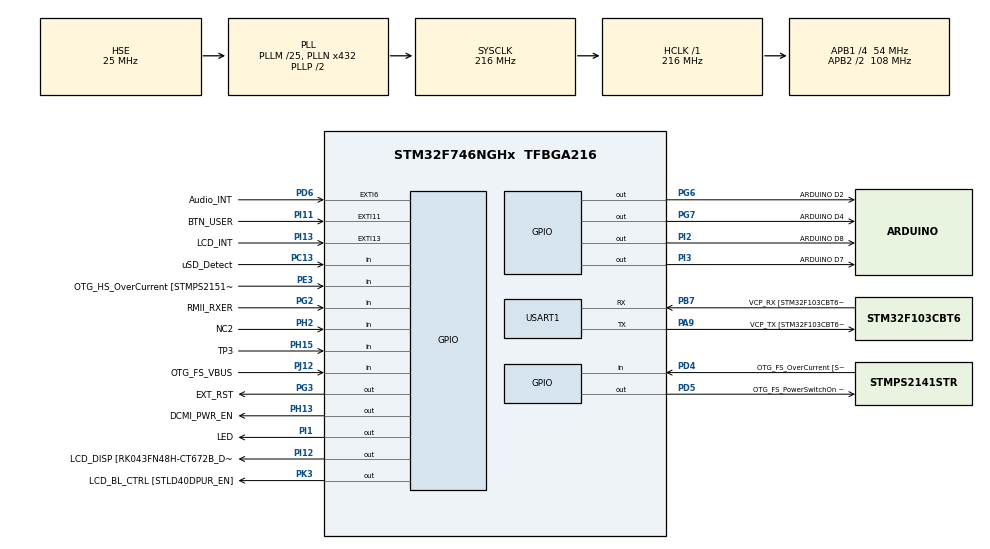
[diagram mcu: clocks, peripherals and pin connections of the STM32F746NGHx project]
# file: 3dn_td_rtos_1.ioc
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FREERTOS.Tasks01=defaultTask,0,128,StartDefaultTask,Default,NULL,Dynamic,NULL,NULL
Mcu.Family=STM32F7
Mcu.Name=STM32F746NGHx
Mcu.Package=TFBGA216
NVIC.PriorityGroup=NVIC_PRIORITYGROUP_4
NVIC.USART1_IRQn=true\:5\:0\:false\:false\:true\:true\:true\:true\:true
PA0/WKUP.GPIO_Label=ARDUINO A0
PA0/WKUP.GPIO_Mode=GPIO_MODE_ANALOG
PA0/WKUP.GPIO_PuPd=GPIO_NOPULL
PA0/WKUP.Signal=ADCx_IN0
PA1.GPIO_Label=RMII_REF_CLK [LAN8742A-CZ-TR_REFCLK0]
PA1.Signal=ETH_REF_CLK
PA10.GPIO_Label=OTG_FS_ID
PA10.Signal=USB_OTG_FS_ID
PA11.GPIO_Label=OTG_FS_N
PA11.Signal=USB_OTG_FS_DM
PA12.GPIO_Label=OTG_FS_P
PA12.Signal=USB_OTG_FS_DP
PA13.GPIO_Label=SWDIO
PA13.Mode=Serial_Wire
PA13.Signal=SYS_JTMS-SWDIO
PA14.GPIO_Label=SWCLK
PA14.Mode=Serial_Wire
PA14.Signal=SYS_JTCK-SWCLK
PA15.GPIO_Label=ARDUINO PWM/D9
PA15.GPIO_ModeDefaultPP=GPIO_MODE_AF_PP
PA15.GPIO_PuPd=GPIO_NOPULL
PA15.GPIO_Speed=GPIO_SPEED_FREQ_LOW
PA15.Signal=S_TIM2_CH1_ETR
PA2.GPIO_Label=RMII_MDIO [LAN8742A-CZ-TR_MDIO]
PA2.Signal=ETH_MDIO
PA3.GPIO_Label=ULPI_D0 [USB3320C-EZK_D0]
PA3.Signal=USB_OTG_HS_ULPI_D0
PA4.GPIO_Label=DCMI_HSYNC
PA4.Signal=DCMI_HSYNC
PA5.GPIO_Label=ULPI_CLK [USB3320C-EZK_CLKOUT]
PA5.Signal=USB_OTG_HS_ULPI_CK
PA6.Signal=DCMI_PIXCLK
PA7.GPIO_Label=RMII_CRS_DV [LAN8742A-CZ-TR_CRS_DV]
PA7.Signal=ETH_CRS_DV
PA8.GPIO_Label=ARDUINO PWM/D10
PA8.GPIO_ModeDefaultPP=GPIO_MODE_AF_PP
PA8.GPIO_PuPd=GPIO_NOPULL
PA8.GPIO_Speed=GPIO_SPEED_FREQ_LOW
PA8.Signal=S_TIM1_CH1
PA9.GPIO_Label=VCP_TX [STM32F103CBT6_PA3]
PA9.GPIO_Mode=GPIO_MODE_AF_PP
PA9.GPIO_PuPd=GPIO_NOPULL
PA9.GPIO_Speed=GPIO_SPEED_FREQ_LOW
PA9.Mode=Asynchronous
PA9.Signal=USART1_TX
PB0.GPIO_Label=ULPI_D1 [USB3320C-EZK_D1]
PB0.Signal=USB_OTG_HS_ULPI_D1
PB1.GPIO_Label=ULPI_D2 [USB3320C-EZK_D2]
PB1.Signal=USB_OTG_HS_ULPI_D2
PB10.GPIO_Label=ULPI_D3 [USB3320C-EZK_D3]
PB10.Signal=USB_OTG_HS_ULPI_D3
PB11.GPIO_Label=ULPI_D4 [USB3320C-EZK_D4]
PB11.Signal=USB_OTG_HS_ULPI_D4
PB12.GPIO_Label=ULPI_D5 [USB3320C-EZK_D5]
PB12.Signal=USB_OTG_HS_ULPI_D5
PB13.GPIO_Label=ULPI_D6 [USB3320C-EZK_D6]
PB13.Signal=USB_OTG_HS_ULPI_D6
PB14.GPIO_Label=ARDUINO MISO/D12
PB14.GPIO_Mode=GPIO_MODE_AF_PP
PB14.GPIO_PuPd=GPIO_NOPULL
PB14.GPIO_Speed=GPIO_SPEED_FREQ_LOW
PB14.Signal=SPI2_MISO
PB15.GPIO_Label=ARDUINO MOSI/PWM/D11
PB15.GPIO_Mode=GPIO_MODE_AF_PP
PB15.GPIO_PuPd=GPIO_NOPULL
PB15.GPIO_Speed=GPIO_SPEED_FREQ_LOW
PB15.Signal=SPI2_MOSI
PB2.Signal=QUADSPI_CLK
PB3.GPIO_Label=SWO
PB3.Signal=SYS_JTDO-SWO
PB4.GPIO_Label=ARDUINO PWM/D3
PB4.GPIO_ModeDefaultPP=GPIO_MODE_AF_PP
PB4.GPIO_PuPd=GPIO_NOPULL
PB4.GPIO_Speed=GPIO_SPEED_FREQ_LOW
PB4.Signal=S_TIM3_CH1
PB5.GPIO_Label=ULPI_D7 [USB3320C-EZK_D7]
PB5.Signal=USB_OTG_HS_ULPI_D7
PB6.GPIO_Label=QSPI_NCS [N25Q128A13EF840E_S]
PB6.Signal=QUADSPI_BK1_NCS
PB7.GPIO_Label=VCP_RX [STM32F103CBT6_PA2]
PB7.GPIO_Mode=GPIO_MODE_AF_PP
PB7.GPIO_PuPd=GPIO_NOPULL
PB7.GPIO_Speed=GPIO_SPEED_FREQ_LOW
PB7.Mode=Asynchronous
PB7.Signal=USART1_RX
PB8.GPIO_Label=ARDUINO SCL/D15
PB8.GPIO_Mode=GPIO_MODE_AF_OD
PB8.GPIO_PuPd=GPIO_NOPULL
PB8.GPIO_Speed=GPIO_SPEED_FREQ_LOW
PB8.Signal=I2C1_SCL
PB9.GPIO_Label=ARDUINO SDA/D14
PB9.GPIO_Mode=GPIO_MODE_AF_OD
PB9.GPIO_PuPd=GPIO_NOPULL
PB9.GPIO_Speed=GPIO_SPEED_FREQ_LOW
PB9.Signal=I2C1_SDA
PC0.GPIO_Label=ULPI_STP [USB3320C-EZK_STP]
PC0.Signal=USB_OTG_HS_ULPI_STP
PC1.GPIO_Label=RMII_MDC [LAN8742A-CZ-TR_MDC]
PC1.Signal=ETH_MDC
PC10.GPIO_Label=SDMMC_D2
PC10.Signal=SDMMC1_D2
PC11.GPIO_Label=SDMMC_D3
PC11.Signal=SDMMC1_D3
PC12.GPIO_Label=SDMMC_CK
PC12.Signal=SDMMC1_CK
PC13.GPIO_Label=uSD_Detect
PC13.Signal=GPIO_Input
PC14/OSC32_IN.GPIO_Label=RCC_OSC32_IN
PC14/OSC32_IN.Signal=RCC_OSC32_IN
PC15/OSC32_OUT.GPIO_Label=RCC_OSC32_OUT
PC15/OSC32_OUT.Signal=RCC_OSC32_OUT
PC2.GPIO_Label=ULPI_DIR [USB3320C-EZK_DIR]
PC2.Signal=USB_OTG_HS_ULPI_DIR
PC3.GPIO_Label=FMC_SDCKE0 [MT48LC4M32B2B5-6A_CKE]
PC3.Signal=FMC_SDCKE0
PC4.GPIO_Label=RMII_RXD0 [LAN8742A-CZ-TR_RXD0]
PC4.Signal=ETH_RXD0
PC5.GPIO_Label=RMII_RXD1 [LAN8742A-CZ-TR_RXD1]
PC5.Signal=ETH_RXD1
PC6.GPIO_Label=ARDUINO TX/D1
PC6.Signal=USART6_TX
PC7.GPIO_Label=ARDUINO RX/D0
PC7.Signal=USART6_RX
PC8.Signal=SDMMC1_D0
PC9.Signal=SDMMC1_D1
PD0.GPIO_Label=FMC_D2 [MT48LC4M32B2B5-6A_DQ2]
PD0.Signal=FMC_D2_DA2
PD1.GPIO_Label=FMC_D3 [MT48LC4M32B2B5-6A_DQ3]
PD1.Signal=FMC_D3_DA3
PD10.GPIO_Label=FMC_D15 [MT48LC4M32B2B5-6A_DQ15]
PD10.Signal=FMC_D15_DA15
PD11.GPIO_Label=QSPI_D0 [N25Q128A13EF840E_DQ0]
PD11.Signal=QUADSPI_BK1_IO0
PD12.GPIO_Label=QSPI_D1 [N25Q128A13EF840E_DQ1]
PD12.Signal=QUADSPI_BK1_IO1
PD13.GPIO_Label=QSPI_D3 [N25Q128A13EF840E_DQ3]
PD13.Signal=QUADSPI_BK1_IO3
PD14.GPIO_Label=FMC_D0 [MT48LC4M32B2B5-6A_DQ0]
PD14.Signal=FMC_D0_DA0
PD15.GPIO_Label=FMC_D1 [MT48LC4M32B2B5-6A_DQ1]
PD15.Signal=FMC_D1_DA1
PD2.GPIO_Label=SDMMC_D0
PD2.Signal=SDMMC1_CMD
PD3.GPIO_Label=DCMI_D5
PD3.Signal=DCMI_D5
PD4.GPIO_Label=OTG_FS_OverCurrent [STMPS2141STR_Fault]
PD4.Signal=GPIO_Input
PD5.GPIO_Label=OTG_FS_PowerSwitchOn [STMPS2141STR_EN]
PD5.PinState=GPIO_PIN_SET
PD5.Signal=GPIO_Output
PD6.GPIO_Label=Audio_INT
PD6.GPIO_ModeDefaultEXTI=GPIO_MODE_EVT_RISING
PD6.Signal=GPXTI6
PD7.GPIO_Label=SPDIF_RX0 [74LVC1G04SE_4]
PD7.Signal=SPDIFRX_IN0
PD8.GPIO_Label=FMC_D13 [MT48LC4M32B2B5-6A_DQ13]
PD8.Signal=FMC_D13_DA13
PD9.GPIO_Label=FMC_D14 [MT48LC4M32B2B5-6A_DQ14]
PD9.Signal=FMC_D14_DA14
PE0.GPIO_Label=FMC_NBL0 [MT48LC4M32B2B5-6A_DQM0]
PE0.Signal=FMC_NBL0
PE1.GPIO_Label=FMC_NBL1 [MT48LC4M32B2B5-6A_DQM1]
PE1.Signal=FMC_NBL1
PE10.GPIO_Label=FMC_D7 [MT48LC4M32B2B5-6A_DQ7]
PE10.Signal=FMC_D7_DA7
PE11.GPIO_Label=FMC_D8 [MT48LC4M32B2B5-6A_DQ8]
PE11.Signal=FMC_D8_DA8
PE12.GPIO_Label=FMC_D9 [MT48LC4M32B2B5-6A_DQ9]
PE12.Signal=FMC_D9_DA9
PE13.GPIO_Label=FMC_D10 [MT48LC4M32B2B5-6A_DQ10]
PE13.Signal=FMC_D10_DA10
PE14.GPIO_Label=FMC_D11 [MT48LC4M32B2B5-6A_DQ11]
PE14.Signal=FMC_D11_DA11
PE15.GPIO_Label=FMC_D12 [MT48LC4M32B2B5-6A_DQ12]
PE15.Signal=FMC_D12_DA12
PE2.GPIO_Label=QSPI_D2 [N25Q128A13EF840E_DQ2]
PE2.Signal=QUADSPI_BK1_IO2
PE3.GPIO_Label=OTG_HS_OverCurrent [STMPS2151STR_FAULT]
PE3.Signal=GPIO_Input
PE4.GPIO_Label=LCD_B0 [RK043FN48H-CT672B_B0]
PE4.Signal=LTDC_B0
PE5.GPIO_Label=DCMI_D6
PE5.Signal=DCMI_D6
PE6.GPIO_Label=DCMI_D7
PE6.Signal=DCMI_D7
PE7.GPIO_Label=FMC_D4 [MT48LC4M32B2B5-6A_DQ4]
PE7.Signal=FMC_D4_DA4
PE8.GPIO_Label=FMC_D5 [MT48LC4M32B2B5-6A_DQ5]
PE8.Signal=FMC_D5_DA5
PE9.GPIO_Label=FMC_D6 [MT48LC4M32B2B5-6A_DQ6]
PE9.Signal=FMC_D6_DA6
PF0.GPIO_Label=FMC_A0 [MT48LC4M32B2B5-6A_A0]
PF0.Signal=FMC_A0
PF1.GPIO_Label=FMC_A1 [MT48LC4M32B2B5-6A_A1]
PF1.Signal=FMC_A1
PF10.GPIO_Label=ARDUINO A1
PF10.GPIO_Mode=GPIO_MODE_ANALOG
PF10.GPIO_PuPd=GPIO_NOPULL
PF10.Signal=ADC3_IN8
PF11.GPIO_Label=FMC_SDNRAS [MT48LC4M32B2B5-6A_RAS]
PF11.Signal=FMC_SDNRAS
PF12.GPIO_Label=FMC_A6 [MT48LC4M32B2B5-6A_A6]
PF12.Signal=FMC_A6
PF13.GPIO_Label=FMC_A7 [MT48LC4M32B2B5-6A_A7]
PF13.Signal=FMC_A7
PF14.GPIO_Label=FMC_A8 [MT48LC4M32B2B5-6A_A8]
PF14.Signal=FMC_A8
PF15.GPIO_Label=FMC_A9 [MT48LC4M32B2B5-6A_A9]
PF15.Signal=FMC_A9
PF2.GPIO_Label=FMC_A2 [MT48LC4M32B2B5-6A_A2]
PF2.Signal=FMC_A2
PF3.GPIO_Label=FMC_A3 [MT48LC4M32B2B5-6A_A3]
PF3.Signal=FMC_A3
PF4.GPIO_Label=FMC_A4 [MT48LC4M32B2B5-6A_A4]
PF4.Signal=FMC_A4
PF5.GPIO_Label=FMC_A5 [MT48LC4M32B2B5-6A_A5]
PF5.Signal=FMC_A5
PF6.GPIO_Label=ARDUINO A5
PF6.GPIO_Mode=GPIO_MODE_ANALOG
PF6.GPIO_PuPd=GPIO_NOPULL
PF6.Signal=ADC3_IN4
PF7.GPIO_Label=ARDUINO A4
PF7.GPIO_Mode=GPIO_MODE_ANALOG
PF7.GPIO_PuPd=GPIO_NOPULL
PF7.Signal=ADC3_IN5
PF8.GPIO_Label=ARDUINO A3
PF8.GPIO_Mode=GPIO_MODE_ANALOG
PF8.GPIO_PuPd=GPIO_NOPULL
PF8.Signal=ADC3_IN6
PF9.GPIO_Label=ARDUINO A2
PF9.GPIO_Mode=GPIO_MODE_ANALOG
PF9.GPIO_PuPd=GPIO_NOPULL
PF9.Signal=ADC3_IN7
PG0.GPIO_Label=FMC_A10 [MT48LC4M32B2B5-6A_A10]
PG0.Signal=FMC_A10
PG1.GPIO_Label=FMC_A11 [MT48LC4M32B2B5-6A_A11]
PG1.Signal=FMC_A11
PG10.GPIO_Label=SAI2_SDB [WM8994ECS/R_ADCDAT1]
PG10.Signal=SAI2_SD_B
PG11.GPIO_Label=RMII_TX_EN [LAN8742A-CZ-TR_TXEN]
PG11.Signal=ETH_TX_EN
PG12.GPIO_Label=LCD_B4 [RK043FN48H-CT672B_B4]
PG12.Signal=LTDC_B4
PG13.GPIO_Label=RMII_TXD0 [LAN8742A-CZ-TR_TXD0]
PG13.Signal=ETH_TXD0
PG14.GPIO_Label=RMII_TXD1 [LAN8742A-CZ-TR_TXD1]
PG14.Signal=ETH_TXD1
PG15.GPIO_Label=FMC_SDNCAS [MT48LC4M32B2B5-6A_CAS]
PG15.Signal=FMC_SDNCAS
PG2.GPIO_Label=RMII_RXER
PG2.Signal=GPIO_Input
PG3.GPIO_Label=EXT_RST
PG3.Signal=GPIO_Output
PG4.GPIO_Label=FMC_BA0 [MT48LC4M32B2B5-6A_BA0]
PG4.Signal=FMC_A14_BA0
PG5.GPIO_Label=FMC_BA1 [MT48LC4M32B2B5-6A_BA1]
PG5.Signal=FMC_A15_BA1
PG6.GPIO_Label=ARDUINO D2
PG6.Signal=GPIO_Output
PG7.GPIO_Label=ARDUINO D4
PG7.Signal=GPIO_Output
PG8.GPIO_Label=FMC_SDCLK [MT48LC4M32B2B5-6A_CLK]
PG8.Signal=FMC_SDCLK
PG9.GPIO_Label=DCMI_VSYNC
PG9.Signal=DCMI_VSYNC
PH0/OSC_IN.GPIO_Label=OSC_25M [NZ2520SB-25.00M_OUT]
PH0/OSC_IN.Mode=HSE-External-Oscillator
PH0/OSC_IN.Signal=RCC_OSC_IN
PH1/OSC_OUT.Mode=HSE-External-Oscillator
PH1/OSC_OUT.Signal=RCC_OSC_OUT
PH10.GPIO_Label=DCMI_D1
PH10.Signal=DCMI_D1
PH11.GPIO_Label=DCMI_D2
PH11.Signal=DCMI_D2
PH12.GPIO_Label=DCMI_D3
PH12.Signal=DCMI_D3
PH13.GPIO_Label=DCMI_PWR_EN
PH13.Signal=GPIO_Output
PH14.GPIO_Label=DCMI_D4
PH14.Signal=DCMI_D4
PH15.GPIO_Label=TP3
PH15.Signal=GPIO_Input
PH2.GPIO_Label=NC2
PH2.Signal=GPIO_Input
PH3.GPIO_Label=FMC_SDNE0 [MT48LC4M32B2B5-6A_CS]
PH3.Signal=FMC_SDNE0
PH4.GPIO_Label=ULPI_NXT [USB3320C-EZK_NXT]
PH4.Signal=USB_OTG_HS_ULPI_NXT
PH5.GPIO_Label=FMC_SDNME [MT48LC4M32B2B5-6A_WE]
PH5.Signal=FMC_SDNWE
PH6.GPIO_Label=ARDUINO PWM/D6
PH6.Signal=S_TIM12_CH1
PH7.GPIO_Label=LCD_SCL [RK043FN48H-CT672B_SCL]
PH7.Signal=I2C3_SCL
PH8.GPIO_Label=LCD_SDA [RK043FN48H-CT672B_SDA]
PH8.Signal=I2C3_SDA
PH9.GPIO_Label=DCMI_D0
PH9.Signal=DCMI_D0
PI0.GPIO_Label=ARDUINO PWM/CS/D5
PI0.GPIO_ModeDefaultPP=GPIO_MODE_AF_PP
PI0.GPIO_PuPd=GPIO_NOPULL
PI0.GPIO_Speed=GPIO_SPEED_FREQ_LOW
PI0.Signal=S_TIM5_CH4
PI1.GPIO_Label=LED
PI1.Signal=GPIO_Output
PI10.GPIO_Label=LCD_HSYNC [RK043FN48H-CT672B_HSYNC]
PI10.Signal=LTDC_HSYNC
PI11.GPIO_Label=BTN_USER
PI11.Signal=GPXTI11
PI12.GPIO_Label=LCD_DISP [RK043FN48H-CT672B_DISP] 
PI12.Signal=GPIO_Output
PI13.GPIO_Label=LCD_INT
PI13.GPIO_ModeDefaultEXTI=GPIO_MODE_EVT_RISING
PI13.Signal=GPXTI13
PI14.GPIO_Label=LCD_CLK [RK043FN48H-CT672B_CLK]
PI14.Signal=LTDC_CLK
PI15.GPIO_Label=LCD_R0 [RK043FN48H-CT672B_R0]
PI15.Signal=LTDC_R0
PI2.GPIO_Label=ARDUINO D8
PI2.Signal=GPIO_Output
PI3.GPIO_Label=ARDUINO D7
PI3.Signal=GPIO_Output
PI4.GPIO_Label=SAI2_MCLKA [WM8994ECS/R_MCLK1]
PI4.Signal=SAI2_MCLK_A
PI5.GPIO_Label=SAI2_SCKA [WM8994ECS/R_BCLK1]
PI5.Signal=SAI2_SCK_A
PI6.GPIO_Label=SAI2_SDA [WM8994ECS/R_DACDAT1]
PI6.Signal=SAI2_SD_A
PI7.GPIO_Label=SAI2_FSA [WM8994ECS/R_LRCLK1]
PI7.Signal=SAI2_FS_A
PI8.GPIO_Label=NC1 [TP2]
PI8.Signal=RTC_TS
PI9.GPIO_Label=LCD_VSYNC [RK043FN48H-CT672B_VSYNC]
PI9.Signal=LTDC_VSYNC
PJ0.GPIO_Label=LCD_R1 [RK043FN48H-CT672B_R1]
PJ0.Signal=LTDC_R1
PJ1.GPIO_Label=LCD_R2 [RK043FN48H-CT672B_R2]
PJ1.Signal=LTDC_R2
PJ10.GPIO_Label=LCD_G3 [RK043FN48H-CT672B_G3]
PJ10.Signal=LTDC_G3
PJ11.GPIO_Label=LCD_G4 [RK043FN48H-CT672B_G4]
PJ11.Signal=LTDC_G4
PJ12.GPIO_Label=OTG_FS_VBUS
PJ12.Signal=GPIO_Input
PJ13.GPIO_Label=LCD_B1 [RK043FN48H-CT672B_B1]
PJ13.Signal=LTDC_B1
PJ14.GPIO_Label=LCD_B2 [RK043FN48H-CT672B_B2]
PJ14.Signal=LTDC_B2
PJ15.GPIO_Label=LCD_B3 [RK043FN48H-CT672B_B3]
PJ15.Signal=LTDC_B3
PJ2.GPIO_Label=LCD_R3 [RK043FN48H-CT672B_R3]
PJ2.Signal=LTDC_R3
PJ3.GPIO_Label=LCD_R4 [RK043FN48H-CT672B_R4]
PJ3.Signal=LTDC_R4
PJ4.GPIO_Label=LCD_R5 [RK043FN48H-CT672B_R5]
PJ4.Signal=LTDC_R5
PJ5.GPIO_Label=LCD_R6 [RK043FN48H-CT672B_R6]
PJ5.Signal=LTDC_R6
PJ6.GPIO_Label=LCD_R7 [RK043FN48H-CT672B_R7]
PJ6.Signal=LTDC_R7
PJ7.GPIO_Label=LCD_G0 [RK043FN48H-CT672B_G0]
PJ7.Signal=LTDC_G0
PJ8.GPIO_Label=LCD_G1 [RK043FN48H-CT672B_G1]
PJ8.Signal=LTDC_G1
PJ9.GPIO_Label=LCD_G2 [RK043FN48H-CT672B_G2]
PJ9.Signal=LTDC_G2
PK0.GPIO_Label=LCD_G5 [RK043FN48H-CT672B_G5]
PK0.Signal=LTDC_G5
PK1.GPIO_Label=LCD_G6 [RK043FN48H-CT672B_G6]
PK1.Signal=LTDC_G6
PK2.GPIO_Label=LCD_G7 [RK043FN48H-CT672B_G7]
PK2.Signal=LTDC_G7
PK3.GPIO_Label=LCD_BL_CTRL [STLD40DPUR_EN]
PK3.Signal=GPIO_Output
PK4.GPIO_Label=LCD_B5 [RK043FN48H-CT672B_B5]
PK4.Signal=LTDC_B5
PK5.GPIO_Label=LCD_B6 [RK043FN48H-CT672B_B6]
PK5.Signal=LTDC_B6
PK6.GPIO_Label=LCD_B7 [RK043FN48H-CT672B_B7]
PK6.Signal=LTDC_B7
PK7.GPIO_Label=LCD_DE [RK043FN48H-CT672B_DE]
PK7.Signal=LTDC_DE
ProjectManager.HeapSize=0x200
ProjectManager.StackSize=0x400
ProjectManager.TargetToolchain=STM32CubeIDE
RCC.AHBFreq_Value=216000000
RCC.APB1CLKDivider=RCC_HCLK_DIV4
RCC.APB1Freq_Value=54000000
RCC.APB1TimFreq_Value=108000000
RCC.APB2CLKDivider=RCC_HCLK_DIV2
RCC.APB2Freq_Value=108000000
RCC.APB2TimFreq_Value=216000000
RCC.CortexFreq_Value=216000000
RCC.HCLKFreq_Value=216000000
RCC.HSE_VALUE=25000000
RCC.HSI_VALUE=16000000
RCC.LSE_VALUE=32768
RCC.PLLM=25
RCC.PLLN=432
RCC.PLLSourceVirtual=RCC_PLLSOURCE_HSE
RCC.SYSCLKFreq_VALUE=216000000
RCC.SYSCLKSource=RCC_SYSCLKSOURCE_PLLCLK
RCC.USBFreq_Value=216000000
RCC.VCOOutputFreq_Value=432000000
SH.ADCx_IN0.0=ADC3_IN0
SH.FMC_A0.0=FMC_A0
SH.FMC_A1.0=FMC_A1
SH.FMC_A10.0=FMC_A10
SH.FMC_A11.0=FMC_A11
SH.FMC_A14_BA0.0=FMC_BA0
SH.FMC_A15_BA1.0=FMC_BA1
SH.FMC_A2.0=FMC_A2
SH.FMC_A3.0=FMC_A3
SH.FMC_A4.0=FMC_A4
SH.FMC_A5.0=FMC_A5
SH.FMC_A6.0=FMC_A6
SH.FMC_A7.0=FMC_A7
SH.FMC_A8.0=FMC_A8
SH.FMC_A9.0=FMC_A9
SH.FMC_D0_DA0.0=FMC_D0
SH.FMC_D10_DA10.0=FMC_D10
SH.FMC_D11_DA11.0=FMC_D11
SH.FMC_D12_DA12.0=FMC_D12
SH.FMC_D13_DA13.0=FMC_D13
SH.FMC_D14_DA14.0=FMC_D14
SH.FMC_D15_DA15.0=FMC_D15
SH.FMC_D1_DA1.0=FMC_D1
SH.FMC_D2_DA2.0=FMC_D2
SH.FMC_D3_DA3.0=FMC_D3
SH.FMC_D4_DA4.0=FMC_D4
SH.FMC_D5_DA5.0=FMC_D5
SH.FMC_D6_DA6.0=FMC_D6
SH.FMC_D7_DA7.0=FMC_D7
SH.FMC_D8_DA8.0=FMC_D8
SH.FMC_D9_DA9.0=FMC_D9
SH.FMC_NBL0.0=FMC_NBL0
SH.FMC_NBL1.0=FMC_NBL1
SH.FMC_SDCLK.0=FMC_SDCLK
SH.FMC_SDNCAS.0=FMC_SDNCAS
SH.FMC_SDNRAS.0=FMC_SDNRAS
SH.FMC_SDNWE.0=FMC_SDNWE
SH.S_TIM12_CH1.0=TIM12_CH1
SH.S_TIM1_CH1.0=TIM1_CH1
SH.S_TIM2_CH1_ETR.0=TIM2_CH1
SH.S_TIM3_CH1.0=TIM3_CH1
SH.S_TIM5_CH4.0=TIM5_CH4
USART1.VirtualMode-Asynchronous=VM_ASYNC
VP_FREERTOS_VS_CMSIS_V1.Mode=CMSIS_V1
board=STM32F746G-DISCO

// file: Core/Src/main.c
/* USER CODE BEGIN Header */
/**
 ******************************************************************************
 * @file           : main.c
 * @brief          : Main program body
 ******************************************************************************
 * @attention
 *
 * Copyright (c) 2025 STMicroelectronics.
 * All rights reserved.
 *
 * This software is licensed under terms that can be found in the LICENSE file
 * in the root directory of this software component.
 * If no LICENSE file comes with this software, it is provided AS-IS.
 *
 ******************************************************************************
 */
/* USER CODE END Header */
#include "main.h"
#include "cmsis_os.h"
#include "usart.h"
#include "gpio.h"

/* USER CODE BEGIN Includes */
#include <stdio.h>
/* USER CODE END Includes */

/* USER CODE BEGIN PD */
#define TASK1_PRIORITY 1
#define TASK2_PRIORITY 2
#define TASK1_STACK_DEPTH 250
#define TASK2_STACK_DEPTH 250

#define TASK_UART1_STACK_DEPTH 256
#define TASK_UART1_PRIORITY 1
/* USER CODE END PD */

/* USER CODE BEGIN PV */
static TaskHandle_t task_uart1_handle = NULL;
static SemaphoreHandle_t uart1_rx_semaphore = NULL;
/* USER CODE END PV */

void SystemClock_Config(void);
void MX_FREERTOS_Init(void);

/* USER CODE BEGIN 0 */
int __io_putchar(int chr)
{
	HAL_UART_Transmit(&huart1, (uint8_t*)&chr, 1, HAL_MAX_DELAY);
	return chr;
}

void HAL_UART_RxCpltCallback(UART_HandleTypeDef *huart)
{
	BaseType_t HigherPriorityTaskWoken;

	if (USART1 == huart->Instance)
	{
		// On veut débloquer la tâche
		xSemaphoreGiveFromISR(uart1_rx_semaphore, &HigherPriorityTaskWoken);

		// On est en interruption, le contexte est *différent* d'une tache
		// Donc le changement de contexte s'effectue différemment
		// Apres cette fonction, HigherPriorityTaskWoken vaut 1 si l'on a réveillé une tache plus prioritaire
	}

	// Appelle une version modifiée du scheduler si une tache plus prioritaire a été appelée
	portYIELD_FROM_ISR(HigherPriorityTaskWoken);
}

void task_uart1(void * unused)
{
	printf("Entering Task UART1\r\n");

	uint8_t uart1_chr;

	uart1_rx_semaphore = xSemaphoreCreateBinary();
	if (uart1_rx_semaphore == NULL)
	{
		printf("Could not create uart1_rx_semaphore\r\n");
		Error_Handler();
	}

	// arme une première fois la réception
	HAL_UART_Receive_IT(&huart1, &uart1_chr, 1);

	for(;;)
	{
		// On veut bloquer la tâche jusqu'à interruption
		if (xSemaphoreTake(uart1_rx_semaphore, 1000) == pdFALSE)
		{
			printf("plus vite!\r\n");
		}
		else {
			HAL_UART_Transmit(&huart1, &uart1_chr, 1, HAL_MAX_DELAY);	// echo
			HAL_UART_Receive_IT(&huart1, &uart1_chr, 1);	// réarme la réception

			/* Fonction qui prend du temps à exécuter */
		}
	}
}

#ifdef NOTIFICATION
void HAL_UART_RxCpltCallback(UART_HandleTypeDef *huart)
{
	BaseType_t HigherPriorityTaskWoken;

	if (USART1 == huart->Instance)
	{
		// On veut débloquer la tâche
		vTaskNotifyGiveFromISR(task_uart1_handle, &HigherPriorityTaskWoken);
		// On est en interruption, le contexte est *différent* d'une tache
		// Donc le changement de contexte s'effectue différemment
		// Apres cette fonction, HigherPriorityTaskWoken vaut 1 si l'on a réveillé une tache plus prioritaire
	}

	// Appelle une version modifiée du scheduler si une tache plus prioritaire a été appelée
	portYIELD_FROM_ISR(HigherPriorityTaskWoken);
}

void task_uart1(void * unused)
{
	printf("Entering Task UART1\r\n");

	uint8_t uart1_chr;

	// arme une première fois la réception
	HAL_UART_Receive_IT(&huart1, &uart1_chr, 1);

	for(;;)
	{
		// On veut bloquer la tâche jusqu'à interruption
		ulTaskNotifyTake(pdTRUE, portMAX_DELAY);

		HAL_UART_Transmit(&huart1, &uart1_chr, 1, HAL_MAX_DELAY);	// echo
		HAL_UART_Receive_IT(&huart1, &uart1_chr, 1);	// réarme la réception

		/* Fonction qui prend du temps à exécuter */

	}
}
#endif

#ifdef TD1
int variable_globale = 0;

void task_code_1(void * unused)
{
	printf("On rentre dans la Task 1\r\n");

	for(;;)
	{
		HAL_GPIO_TogglePin(LED_GPIO_Port, LED_Pin);
		vTaskDelay(100);
	}

	// Il ne faut pas retourner de cette fonction
	// Parce que c'est une tache
}

void task_code_2(void * unused)
{
	printf("On rentre dans la Task 2\r\n");

	int i = 0;

	for(;;)
	{
		printf("Task2 : i = %d\r\n", i);
		i++;
		vTaskDelay(1000);
	}
}
#endif
/* USER CODE END 0 */

int main(void)
{

	/* MCU Configuration--------------------------------------------------------*/

	/* Reset of all peripherals, Initializes the Flash interface and the Systick. */
	HAL_Init();

	/* Configure the system clock */
	SystemClock_Config();

	/* Initialize all configured peripherals */
	MX_GPIO_Init();
	MX_USART1_UART_Init();
	/* USER CODE BEGIN 2 */
	printf("\r\n===== TD RTOS 1 =====\r\n");

	if (xTaskCreate(task_uart1, "UART1", TASK_UART1_STACK_DEPTH, NULL, TASK_UART1_PRIORITY, &task_uart1_handle) != pdPASS)
	{
		printf("Could not allocate Task UART 1\r\n");
		Error_Handler();
	}

#ifdef TD1
	BaseType_t ret;

	ret = xTaskCreate(task_code_1, "Task 1", TASK1_STACK_DEPTH, NULL, TASK1_PRIORITY, NULL);
	if (ret != pdPASS)
	{
		printf("Could not allocate Task 1\r\n");
		Error_Handler();
	}

	ret = xTaskCreate(task_code_2, "Task 2", TASK2_STACK_DEPTH, NULL, TASK2_PRIORITY, NULL);
	if (ret != pdPASS)
	{
		printf("Could not allocate Task 2\r\n");
		Error_Handler();
	}
#endif

	vTaskStartScheduler();	// Appelle l'OS (avec une fonction de freertos
	/* USER CODE END 2 */

	/* Call init function for freertos objects (in cmsis_os2.c) */
	MX_FREERTOS_Init();

	/* Start scheduler */
	osKernelStart();

	/* We should never get here as control is now taken by the scheduler */

	/* Infinite loop */
	/* USER CODE BEGIN WHILE */
	while (1)
	{
		HAL_GPIO_TogglePin(LED_GPIO_Port, LED_Pin);
		HAL_Delay(100);

		/* USER CODE END WHILE */

	}
}

void SystemClock_Config(void)
{
	RCC_OscInitTypeDef RCC_OscInitStruct = {0};
	RCC_ClkInitTypeDef RCC_ClkInitStruct = {0};

	/** Configure the main internal regulator output voltage
	 */
	__HAL_RCC_PWR_CLK_ENABLE();
	__HAL_PWR_VOLTAGESCALING_CONFIG(PWR_REGULATOR_VOLTAGE_SCALE1);

	/** Initializes the RCC Oscillators according to the specified parameters
	 * in the RCC_OscInitTypeDef structure.
	 */
	RCC_OscInitStruct.OscillatorType = RCC_OSCILLATORTYPE_HSE;
	RCC_OscInitStruct.HSEState = RCC_HSE_ON;
	RCC_OscInitStruct.PLL.PLLState = RCC_PLL_ON;
	RCC_OscInitStruct.PLL.PLLSource = RCC_PLLSOURCE_HSE;
	RCC_OscInitStruct.PLL.PLLM = 25;
	RCC_OscInitStruct.PLL.PLLN = 432;
	RCC_OscInitStruct.PLL.PLLP = RCC_PLLP_DIV2;
	RCC_OscInitStruct.PLL.PLLQ = 2;
	if (HAL_RCC_OscConfig(&RCC_OscInitStruct) != HAL_OK)
	{
		Error_Handler();
	}

	/** Activate the Over-Drive mode
	 */
	if (HAL_PWREx_EnableOverDrive() != HAL_OK)
	{
		Error_Handler();
	}

	/** Initializes the CPU, AHB and APB buses clocks
	 */
	RCC_ClkInitStruct.ClockType = RCC_CLOCKTYPE_HCLK|RCC_CLOCKTYPE_SYSCLK
			|RCC_CLOCKTYPE_PCLK1|RCC_CLOCKTYPE_PCLK2;
	RCC_ClkInitStruct.SYSCLKSource = RCC_SYSCLKSOURCE_PLLCLK;
	RCC_ClkInitStruct.AHBCLKDivider = RCC_SYSCLK_DIV1;
	RCC_ClkInitStruct.APB1CLKDivider = RCC_HCLK_DIV4;
	RCC_ClkInitStruct.APB2CLKDivider = RCC_HCLK_DIV2;

	if (HAL_RCC_ClockConfig(&RCC_ClkInitStruct, FLASH_LATENCY_7) != HAL_OK)
	{
		Error_Handler();
	}
}

void Error_Handler(void)
{
	__disable_irq();
	while (1)
	{
	}
}

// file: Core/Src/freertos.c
/* USER CODE BEGIN Header */
/**
  ******************************************************************************
  * File Name          : freertos.c
  * Description        : Code for freertos applications
  ******************************************************************************
  * @attention
  *
  * Copyright (c) 2025 STMicroelectronics.
  * All rights reserved.
  *
  * This software is licensed under terms that can be found in the LICENSE file
  * in the root directory of this software component.
  * If no LICENSE file comes with this software, it is provided AS-IS.
  *
  ******************************************************************************
  */
/* USER CODE END Header */

#include "FreeRTOS.h"
#include "task.h"
#include "main.h"
#include "cmsis_os.h"

osThreadId defaultTaskHandle;

void StartDefaultTask(void const * argument);

void MX_FREERTOS_Init(void); /* (MISRA C 2004 rule 8.1) */

/* GetIdleTaskMemory prototype (linked to static allocation support) */
void vApplicationGetIdleTaskMemory( StaticTask_t **ppxIdleTaskTCBBuffer, StackType_t **ppxIdleTaskStackBuffer, uint32_t *pulIdleTaskStackSize );

/* USER CODE BEGIN GET_IDLE_TASK_MEMORY */
static StaticTask_t xIdleTaskTCBBuffer;
static StackType_t xIdleStack[configMINIMAL_STACK_SIZE];

void vApplicationGetIdleTaskMemory( StaticTask_t **ppxIdleTaskTCBBuffer, StackType_t **ppxIdleTaskStackBuffer, uint32_t *pulIdleTaskStackSize )
{
  *ppxIdleTaskTCBBuffer = &xIdleTaskTCBBuffer;
  *ppxIdleTaskStackBuffer = &xIdleStack[0];
  *pulIdleTaskStackSize = configMINIMAL_STACK_SIZE;
  /* place for user code */
}
/* USER CODE END GET_IDLE_TASK_MEMORY */

void MX_FREERTOS_Init(void) {

  /* Create the thread(s) */
  /* definition and creation of defaultTask */
  osThreadDef(defaultTask, StartDefaultTask, osPriorityNormal, 0, 128);
  defaultTaskHandle = osThreadCreate(osThread(defaultTask), NULL);

}

void StartDefaultTask(void const * argument)
{
  for(;;)
  {
    osDelay(1);
  }
}
